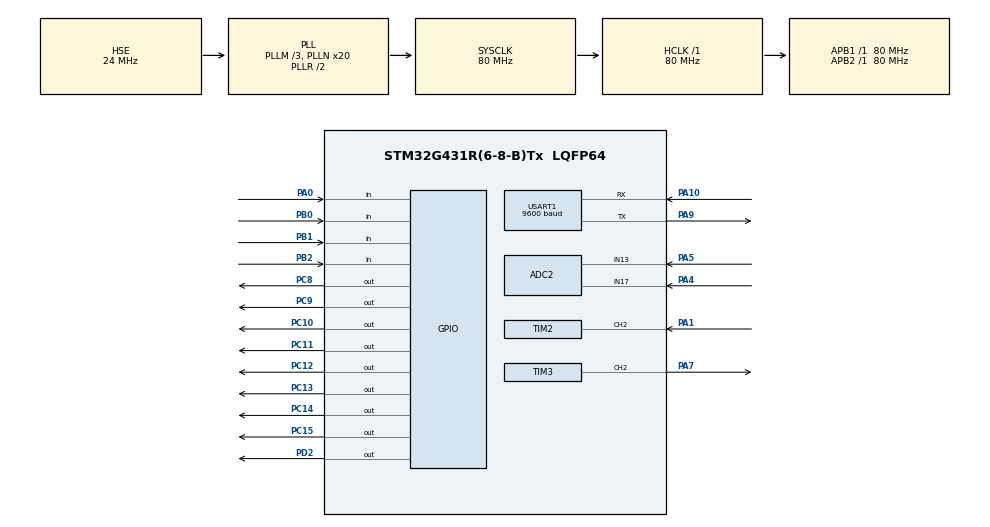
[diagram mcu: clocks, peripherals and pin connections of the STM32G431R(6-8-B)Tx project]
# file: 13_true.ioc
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ADC2.Channel-2\#ChannelRegularConversion=ADC_CHANNEL_17
ADC2.Channel-3\#ChannelRegularConversion=ADC_CHANNEL_13
ADC2.DiscontinuousConvMode=ENABLE
ADC2.NbrOfConversion=2
ADC2.NbrOfConversionFlag=1
ADC2.OffsetNumber-2\#ChannelRegularConversion=ADC_OFFSET_NONE
ADC2.OffsetNumber-3\#ChannelRegularConversion=ADC_OFFSET_NONE
ADC2.Rank-2\#ChannelRegularConversion=1
ADC2.Rank-3\#ChannelRegularConversion=2
ADC2.SamplingTime-2\#ChannelRegularConversion=ADC_SAMPLETIME_640CYCLES_5
ADC2.SamplingTime-3\#ChannelRegularConversion=ADC_SAMPLETIME_640CYCLES_5
Mcu.Family=STM32G4
Mcu.Name=STM32G431R(6-8-B)Tx
Mcu.Package=LQFP64
NVIC.PriorityGroup=NVIC_PRIORITYGROUP_4
NVIC.TIM2_IRQn=true\:0\:0\:false\:false\:true\:true\:true\:true
NVIC.TIM4_IRQn=true\:0\:0\:false\:false\:true\:true\:true\:true
NVIC.USART1_IRQn=true\:0\:0\:false\:false\:true\:true\:true\:true
PA0.Signal=GPIO_Input
PA1.Signal=S_TIM2_CH2
PA10.Mode=Asynchronous
PA10.Signal=USART1_RX
PA13.Mode=Serial_Wire
PA13.Signal=SYS_JTMS-SWDIO
PA14.Mode=Serial_Wire
PA14.Signal=SYS_JTCK-SWCLK
PA4.Mode=IN17-Single-Ended
PA4.Signal=ADC2_IN17
PA5.Mode=IN13-Single-Ended
PA5.Signal=ADC2_IN13
PA7.Signal=S_TIM3_CH2
PA9.Mode=Asynchronous
PA9.Signal=USART1_TX
PB0.Signal=GPIO_Input
PB1.Signal=GPIO_Input
PB2.Signal=GPIO_Input
PC10.PinState=GPIO_PIN_SET
PC10.Signal=GPIO_Output
PC11.PinState=GPIO_PIN_SET
PC11.Signal=GPIO_Output
PC12.PinState=GPIO_PIN_SET
PC12.Signal=GPIO_Output
PC13.PinState=GPIO_PIN_SET
PC13.Signal=GPIO_Output
PC14-OSC32_IN.PinState=GPIO_PIN_SET
PC14-OSC32_IN.Signal=GPIO_Output
PC15-OSC32_OUT.PinState=GPIO_PIN_SET
PC15-OSC32_OUT.Signal=GPIO_Output
PC8.PinState=GPIO_PIN_SET
PC8.Signal=GPIO_Output
PC9.PinState=GPIO_PIN_SET
PC9.Signal=GPIO_Output
PD2.Signal=GPIO_Output
PF0-OSC_IN.Mode=HSE-External-Oscillator
PF0-OSC_IN.Signal=RCC_OSC_IN
PF1-OSC_OUT.Mode=HSE-External-Oscillator
PF1-OSC_OUT.Signal=RCC_OSC_OUT
ProjectManager.HeapSize=0x200
ProjectManager.StackSize=0x400
ProjectManager.TargetToolchain=MDK-ARM V5.32
RCC.ADC12Freq_Value=80000000
RCC.AHBFreq_Value=80000000
RCC.APB1Freq_Value=80000000
RCC.APB1TimFreq_Value=80000000
RCC.APB2Freq_Value=80000000
RCC.APB2TimFreq_Value=80000000
RCC.CortexFreq_Value=80000000
RCC.EXTERNAL_CLOCK_VALUE=12288000
RCC.HCLKFreq_Value=80000000
RCC.HSE_VALUE=24000000
RCC.HSI48_VALUE=48000000
RCC.HSI_VALUE=16000000
RCC.LSE_VALUE=32768
RCC.PLLM=RCC_PLLM_DIV3
RCC.PLLN=20
RCC.PLLSourceVirtual=RCC_PLLSOURCE_HSE
RCC.SYSCLKFreq_VALUE=80000000
RCC.SYSCLKSource=RCC_SYSCLKSOURCE_PLLCLK
RCC.USBFreq_Value=80000000
RCC.VCOOutputFreq_Value=160000000
SH.S_TIM2_CH2.0=TIM2_CH2,Input_Capture2_from_TI2
SH.S_TIM3_CH2.0=TIM3_CH2,PWM Generation2 CH2
TIM2.Channel-Input_Capture2_from_TI2=TIM_CHANNEL_2
TIM2.Prescaler=80 - 1
TIM3.Channel-PWM\ Generation2\ CH2=TIM_CHANNEL_2
TIM3.PeriodNoDither=65535
TIM3.Prescaler=10 - 1
TIM4.PeriodNoDither=10000 - 1
TIM4.Prescaler=80 - 1
USART1.BaudRate=9600
USART1.VirtualMode-Asynchronous=VM_ASYNC
VP_SYS_VS_DBSignals.Mode=DisableDeadBatterySignals
VP_TIM2_VS_ClockSourceINT.Mode=Internal
VP_TIM3_VS_ClockSourceINT.Mode=Internal
VP_TIM4_VS_ClockSourceINT.Mode=Internal
board=custom

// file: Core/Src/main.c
/* USER CODE BEGIN Header */
/**
  ******************************************************************************
  * @file           : main.c
  * @brief          : Main program body
  ******************************************************************************
  * @attention
  *
  * Copyright (c) 2025 STMicroelectronics.
  * All rights reserved.
  *
  * This software is licensed under terms that can be found in the LICENSE file
  * in the root directory of this software component.
  * If no LICENSE file comes with this software, it is provided AS-IS.
  *
  ******************************************************************************
  */
/* USER CODE END Header */
#include "main.h"
#include "adc.h"
#include "tim.h"
#include "usart.h"
#include "gpio.h"

/* USER CODE BEGIN Includes */
extern void pwm_init(void);
extern void led_init(void);
extern void key_init(void);
extern void pwm_init(void);
extern void uart_init(void);
extern void eeprom_init(void);
extern void show_init(void);
extern void adc_init(void);

extern void led_task(void);
extern void adc_task(void);
extern void key_task(void);
extern void pwm_task(void);
extern void uart_task(void);
extern void show_task(void);

extern uint8_t led_task_flag, adc_task_flag, key_task_flag, pwm_task_flag, uart_task_flag, show_task_flag;
/* USER CODE END Includes */

void SystemClock_Config(void);

int main(void)
{

  /* MCU Configuration--------------------------------------------------------*/

  /* Reset of all peripherals, Initializes the Flash interface and the Systick. */
  HAL_Init();

  /* Configure the system clock */
  SystemClock_Config();

  /* Initialize all configured peripherals */
  MX_GPIO_Init();
  MX_ADC2_Init();
  MX_TIM2_Init();
  MX_TIM3_Init();
  MX_TIM4_Init();
  MX_USART1_UART_Init();
  /* USER CODE BEGIN 2 */
	show_init();
	pwm_init();
	led_init();
	key_init();
	uart_init();
	eeprom_init();
//	adc_init();
  /* USER CODE END 2 */

  /* Infinite loop */
  /* USER CODE BEGIN WHILE */
  while (1)
  {
	  led_task();
	  adc_task();
	  key_task();
	  if(pwm_task_flag == 1)
	  {
		  pwm_task_flag = 0;
		  pwm_task();
	  }

	  if(uart_task_flag == 1)
	  {
		  uart_task_flag = 0;
		  uart_task();
	  }

	  if(show_task_flag == 1)
	  {
		  show_task_flag = 0;
		  show_task();
	  }
    /* USER CODE END WHILE */

  }
}

void SystemClock_Config(void)
{
  RCC_OscInitTypeDef RCC_OscInitStruct = {0};
  RCC_ClkInitTypeDef RCC_ClkInitStruct = {0};

  /** Configure the main internal regulator output voltage
  */
  HAL_PWREx_ControlVoltageScaling(PWR_REGULATOR_VOLTAGE_SCALE1);

  /** Initializes the RCC Oscillators according to the specified parameters
  * in the RCC_OscInitTypeDef structure.
  */
  RCC_OscInitStruct.OscillatorType = RCC_OSCILLATORTYPE_HSE;
  RCC_OscInitStruct.HSEState = RCC_HSE_ON;
  RCC_OscInitStruct.PLL.PLLState = RCC_PLL_ON;
  RCC_OscInitStruct.PLL.PLLSource = RCC_PLLSOURCE_HSE;
  RCC_OscInitStruct.PLL.PLLM = RCC_PLLM_DIV3;
  RCC_OscInitStruct.PLL.PLLN = 20;
  RCC_OscInitStruct.PLL.PLLP = RCC_PLLP_DIV2;
  RCC_OscInitStruct.PLL.PLLQ = RCC_PLLQ_DIV2;
  RCC_OscInitStruct.PLL.PLLR = RCC_PLLR_DIV2;
  if (HAL_RCC_OscConfig(&RCC_OscInitStruct) != HAL_OK)
  {
    Error_Handler();
  }

  /** Initializes the CPU, AHB and APB buses clocks
  */
  RCC_ClkInitStruct.ClockType = RCC_CLOCKTYPE_HCLK|RCC_CLOCKTYPE_SYSCLK
                              |RCC_CLOCKTYPE_PCLK1|RCC_CLOCKTYPE_PCLK2;
  RCC_ClkInitStruct.SYSCLKSource = RCC_SYSCLKSOURCE_PLLCLK;
  RCC_ClkInitStruct.AHBCLKDivider = RCC_SYSCLK_DIV1;
  RCC_ClkInitStruct.APB1CLKDivider = RCC_HCLK_DIV1;
  RCC_ClkInitStruct.APB2CLKDivider = RCC_HCLK_DIV1;

  if (HAL_RCC_ClockConfig(&RCC_ClkInitStruct, FLASH_LATENCY_2) != HAL_OK)
  {
    Error_Handler();
  }
}

void Error_Handler(void)
{
  __disable_irq();
  while (1)
  {
  }
}
